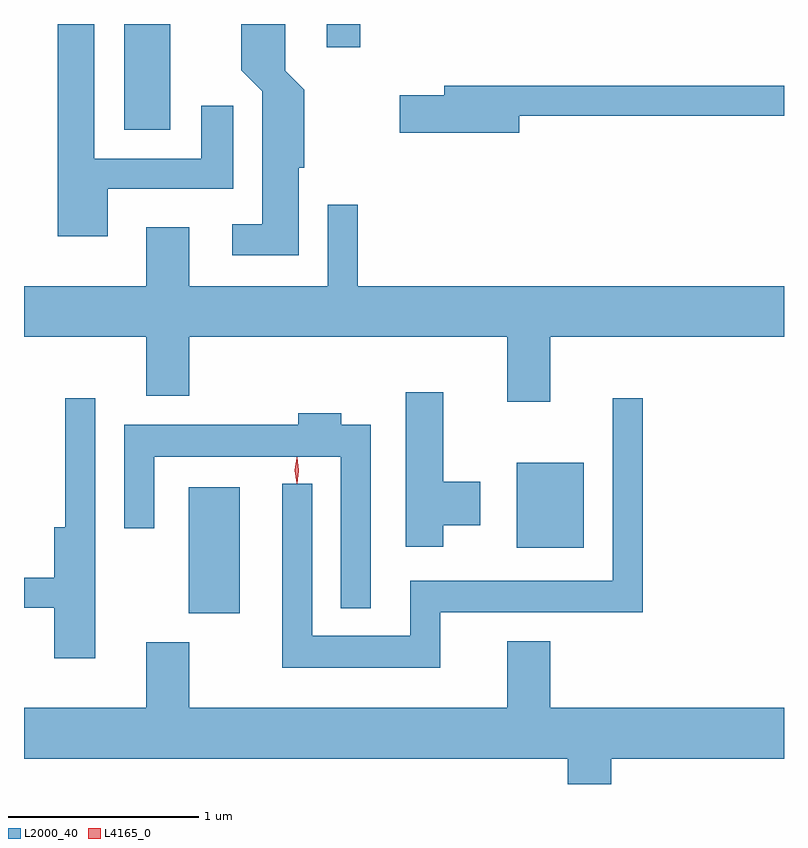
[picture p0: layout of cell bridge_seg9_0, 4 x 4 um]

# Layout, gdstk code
import gdstk
lib = gdstk.Library(unit=1e-6, precision=1e-09)
def R(c, l, rs):  # rectangles x0, y0, x1, y1
    for r in rs: c.add(gdstk.rectangle(r[:2], r[2:], *l))
def P(c, l, *ps):  # polygons
    for p in ps: c.add(gdstk.Polygon(p, *l))
L2000_40 = (2000, 40)
L4165_0 = (4165, 0)

bridge_seg9_0 = lib.new_cell('bridge_seg9_0')
R(bridge_seg9_0, L2000_40, [(1710.066,2079.161,1710.334,2079.824), (1711.791,2079.506,1712.144,2079.954), (1709.726,2081.706,1709.969,2082.263), (1710.791,2082.141,1710.969,2082.263)])
P(bridge_seg9_0, L2000_40, [(1710.644,2081.506),(1710.674,2081.506),(1710.674,2081.917),(1710.574,2082.017),(1710.574,2082.263),(1710.341,2082.263),(1710.341,2082.019),(1710.451,2081.909),(1710.451,2081.209),(1710.293,2081.209),(1710.293,2081.046),(1710.644,2081.046)],
  [(1709.639,2081.396),(1710.299,2081.396),(1710.299,2081.833),(1710.131,2081.833),(1710.131,2081.554),(1709.569,2081.554),(1709.569,2082.263),(1709.376,2082.263),(1709.376,2081.146),(1709.639,2081.146)],
  [(1711.804,2081.781),(1713.198,2081.781),(1713.198,2081.939),(1711.411,2081.939),(1711.411,2081.889),(1711.176,2081.889),(1711.176,2081.691),(1711.804,2081.691)],
  [(1711.969,2080.616),(1713.198,2080.616),(1713.198,2080.884),(1710.954,2080.884),(1710.954,2081.313),(1710.796,2081.313),(1710.796,2080.884),(1710.069,2080.884),(1710.069,2081.194),(1709.841,2081.194),(1709.841,2080.884),(1709.198,2080.884),(1709.198,2080.616),(1709.841,2080.616),(1709.841,2080.306),(1710.069,2080.306),(1710.069,2080.616),(1711.741,2080.616),(1711.741,2080.276),(1711.969,2080.276)],
  [(1711.404,2079.626),(1711.599,2079.626),(1711.599,2079.854),(1711.404,2079.854),(1711.404,2080.324),(1711.206,2080.324),(1711.206,2079.511),(1711.404,2079.511)],
  [(1711.389,2079.166),(1712.454,2079.166),(1712.454,2080.293),(1712.296,2080.293),(1712.296,2079.334),(1711.231,2079.334),(1711.231,2079.044),(1710.714,2079.044),(1710.714,2079.843),(1710.556,2079.843),(1710.556,2078.876),(1711.389,2078.876)],
  [(1709.574,2080.293),(1709.416,2080.293),(1709.416,2079.614),(1709.356,2079.614),(1709.356,2079.349),(1709.198,2079.349),(1709.198,2079.191),(1709.356,2079.191),(1709.356,2078.926),(1709.574,2078.926)],
  [(1711.024,2080.154),(1710.869,2080.154),(1710.869,2080.214),(1710.641,2080.214),(1710.641,2080.154),(1709.726,2080.154),(1709.726,2079.608),(1709.884,2079.608),(1709.884,2079.986),(1710.866,2079.986),(1710.866,2079.188),(1711.024,2079.188)],
  [(1712.289,2078.396),(1713.198,2078.396),(1713.198,2078.664),(1711.969,2078.664),(1711.969,2079.014),(1711.741,2079.014),(1711.741,2078.664),(1710.069,2078.664),(1710.069,2079.009),(1709.841,2079.009),(1709.841,2078.664),(1709.198,2078.664),(1709.198,2078.396),(1712.061,2078.396),(1712.061,2078.263),(1712.289,2078.263)])
P(bridge_seg9_0, L4165_0, [(1710.634,2079.844),(1710.625,2079.913),(1710.634,2079.982),(1710.635,2079.983),(1710.636,2079.982),(1710.645,2079.913),(1710.636,2079.844),(1710.635,2079.844)],
  [(1710.634,2079.847),(1710.634,2079.847),(1710.624,2079.914),(1710.634,2079.98),(1710.634,2079.98),(1710.635,2079.98),(1710.644,2079.914),(1710.635,2079.847)])

lib.write_gds('bridge_seg9_0.gds')
